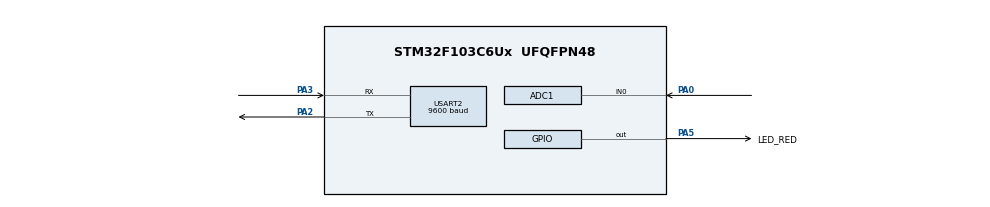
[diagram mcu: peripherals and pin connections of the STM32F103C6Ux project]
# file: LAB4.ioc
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ADC1.Channel-0\#ChannelRegularConversion=ADC_CHANNEL_0
ADC1.ContinuousConvMode=ENABLE
ADC1.NbrOfConversionFlag=1
ADC1.Rank-0\#ChannelRegularConversion=1
ADC1.SamplingTime-0\#ChannelRegularConversion=ADC_SAMPLETIME_1CYCLE_5
ADC1.master=1
Mcu.Family=STM32F1
Mcu.Name=STM32F103C6Ux
Mcu.Package=UFQFPN48
NVIC.PriorityGroup=NVIC_PRIORITYGROUP_4
NVIC.TIM2_IRQn=true\:0\:0\:false\:false\:true\:true\:true
NVIC.USART2_IRQn=true\:0\:0\:false\:false\:true\:true\:true
PA0-WKUP.Signal=ADCx_IN0
PA2.Mode=Asynchronous
PA2.Signal=USART2_TX
PA3.Mode=Asynchronous
PA3.Signal=USART2_RX
PA5.GPIO_Label=LED_RED
PA5.Signal=GPIO_Output
ProjectManager.HeapSize=0x200
ProjectManager.StackSize=0x400
ProjectManager.TargetToolchain=STM32CubeIDE
RCC.APB1Freq_Value=8000000
RCC.APB2Freq_Value=8000000
SH.ADCx_IN0.0=ADC1_IN0,IN0
TIM2.Period=9
TIM2.Prescaler=7999
USART2.BaudRate=9600
USART2.VirtualMode=VM_ASYNC
VP_SYS_VS_ND.Mode=No_Debug
VP_TIM2_VS_ClockSourceINT.Mode=Internal
board=custom

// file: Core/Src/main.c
/* USER CODE BEGIN Header */
/**
  ******************************************************************************
  * @file           : main.c
  * @brief          : Main program body
  ******************************************************************************
  * @attention
  *
  * <h2><center>&copy; Copyright (c) 2023 STMicroelectronics.
  * All rights reserved.</center></h2>
  *
  * This software component is licensed by ST under BSD 3-Clause license,
  * the "License"; You may not use this file except in compliance with the
  * License. You may obtain a copy of the License at:
  *                        opensource.org/licenses/BSD-3-Clause
  *
  ******************************************************************************
  */
/* USER CODE END Header */
#include "main.h"
#include "fsm.h"

ADC_HandleTypeDef hadc1;

TIM_HandleTypeDef htim2;

UART_HandleTypeDef huart2;

void SystemClock_Config(void);
static void MX_GPIO_Init(void);
static void MX_ADC1_Init(void);
static void MX_USART2_UART_Init(void);
static void MX_TIM2_Init(void);

/* USER CODE BEGIN 0 */

/* When a character (or a byte) is received, this interrupt service routine is invoked.
After the character is sent to the terminal, the interrupt is activated again.
+ Verify the UART communication channel: sending back any character received from the terminal => Loop-back communication
*/
//#define MAX_BUFFER_SIZE 30
//uint8_t temp = 0;
//uint8_t buffer[MAX_BUFFER_SIZE];
//uint8_t index_buffer = 0;
//uint8_t buffer_flag = 0;
//uint8_t temp = 0;
void HAL_UART_RxCpltCallback (UART_HandleTypeDef *huart){
	if(huart -> Instance == USART2){
		HAL_UART_Transmit(&huart2, &temp, 1, 500); //transmit 1 byte in 500ms
		buffer[index_buffer++] = temp; //store and increment the buffer index
		if(index_buffer==MAX_BUFFER_SIZE) index_buffer=0;
		buffer_flag=1; //new data
		//HAL_UART_Transmit(&huart2, &temp, 1, 50); //transmit 1 byte in 50ms
		HAL_UART_Receive_IT(&huart2, &temp, 1);
	}
}
/* USER CODE END 0 */

int main(void)
{

  /* MCU Configuration--------------------------------------------------------*/

  /* Reset of all peripherals, Initializes the Flash interface and the Systick. */
  HAL_Init();

  /* Configure the system clock */
  SystemClock_Config();

  /* Initialize all configured peripherals */
  MX_GPIO_Init();
  MX_ADC1_Init();
  MX_USART2_UART_Init();
  MX_TIM2_Init();
  /* USER CODE BEGIN 2 */
  HAL_TIM_Base_Start_IT (&htim2);
  HAL_UART_Receive_IT(&huart2, &temp, 1);
  HAL_ADC_Start(&hadc1);
  setTimer1(100);
  /* USER CODE END 2 */

  /* Infinite loop */
  /* USER CODE BEGIN WHILE */
  while (1)
  {
	  if(buffer_flag == 1){
		  command_parser_fsm();
		  buffer_flag = 0;
	  }
	  uart_communication_fsm();
	  if(timer1_flag == 1){
		  HAL_GPIO_TogglePin(LED_RED_GPIO_Port, LED_RED_Pin);
		  setTimer1(100);
	  }
    /* USER CODE END WHILE */

/*	  if(timer1_flag==1){
		  HAL_GPIO_TogglePin (LED_RED_GPIO_Port, LED_RED_Pin);
		  ADC_value = HAL_ADC_GetValue (&hadc1);
		  HAL_UART_Transmit (&huart2, (void *) str, sprintf (str, "%d\n", ADC_value), 1000);
		  //sprintf converts the ADC value into string, str array. INCLUDED \n
		  //Return the # characters written, and it is used as the length of the data to be transmitted.
		  setTimer1(50);
	  }
*/
  }
}

void SystemClock_Config(void)
{
  RCC_OscInitTypeDef RCC_OscInitStruct = {0};
  RCC_ClkInitTypeDef RCC_ClkInitStruct = {0};
  RCC_PeriphCLKInitTypeDef PeriphClkInit = {0};

  /** Initializes the RCC Oscillators according to the specified parameters
  * in the RCC_OscInitTypeDef structure.
  */
  RCC_OscInitStruct.OscillatorType = RCC_OSCILLATORTYPE_HSI;
  RCC_OscInitStruct.HSIState = RCC_HSI_ON;
  RCC_OscInitStruct.HSICalibrationValue = RCC_HSICALIBRATION_DEFAULT;
  RCC_OscInitStruct.PLL.PLLState = RCC_PLL_NONE;
  if (HAL_RCC_OscConfig(&RCC_OscInitStruct) != HAL_OK)
  {
    Error_Handler();
  }
  /** Initializes the CPU, AHB and APB buses clocks
  */
  RCC_ClkInitStruct.ClockType = RCC_CLOCKTYPE_HCLK|RCC_CLOCKTYPE_SYSCLK
                              |RCC_CLOCKTYPE_PCLK1|RCC_CLOCKTYPE_PCLK2;
  RCC_ClkInitStruct.SYSCLKSource = RCC_SYSCLKSOURCE_HSI;
  RCC_ClkInitStruct.AHBCLKDivider = RCC_SYSCLK_DIV1;
  RCC_ClkInitStruct.APB1CLKDivider = RCC_HCLK_DIV1;
  RCC_ClkInitStruct.APB2CLKDivider = RCC_HCLK_DIV1;

  if (HAL_RCC_ClockConfig(&RCC_ClkInitStruct, FLASH_LATENCY_0) != HAL_OK)
  {
    Error_Handler();
  }
  PeriphClkInit.PeriphClockSelection = RCC_PERIPHCLK_ADC;
  PeriphClkInit.AdcClockSelection = RCC_ADCPCLK2_DIV2;
  if (HAL_RCCEx_PeriphCLKConfig(&PeriphClkInit) != HAL_OK)
  {
    Error_Handler();
  }
}

static void MX_ADC1_Init(void)
{

  ADC_ChannelConfTypeDef sConfig = {0};

  /** Common config
  */
  hadc1.Instance = ADC1;
  hadc1.Init.ScanConvMode = ADC_SCAN_DISABLE;
  hadc1.Init.ContinuousConvMode = ENABLE;
  hadc1.Init.DiscontinuousConvMode = DISABLE;
  hadc1.Init.ExternalTrigConv = ADC_SOFTWARE_START;
  hadc1.Init.DataAlign = ADC_DATAALIGN_RIGHT;
  hadc1.Init.NbrOfConversion = 1;
  if (HAL_ADC_Init(&hadc1) != HAL_OK)
  {
    Error_Handler();
  }
  /** Configure Regular Channel
  */
  sConfig.Channel = ADC_CHANNEL_0;
  sConfig.Rank = ADC_REGULAR_RANK_1;
  sConfig.SamplingTime = ADC_SAMPLETIME_1CYCLE_5;
  if (HAL_ADC_ConfigChannel(&hadc1, &sConfig) != HAL_OK)
  {
    Error_Handler();
  }

}

static void MX_TIM2_Init(void)
{

  TIM_ClockConfigTypeDef sClockSourceConfig = {0};
  TIM_MasterConfigTypeDef sMasterConfig = {0};

  htim2.Instance = TIM2;
  htim2.Init.Prescaler = 7999;
  htim2.Init.CounterMode = TIM_COUNTERMODE_UP;
  htim2.Init.Period = 9;
  htim2.Init.ClockDivision = TIM_CLOCKDIVISION_DIV1;
  htim2.Init.AutoReloadPreload = TIM_AUTORELOAD_PRELOAD_DISABLE;
  if (HAL_TIM_Base_Init(&htim2) != HAL_OK)
  {
    Error_Handler();
  }
  sClockSourceConfig.ClockSource = TIM_CLOCKSOURCE_INTERNAL;
  if (HAL_TIM_ConfigClockSource(&htim2, &sClockSourceConfig) != HAL_OK)
  {
    Error_Handler();
  }
  sMasterConfig.MasterOutputTrigger = TIM_TRGO_RESET;
  sMasterConfig.MasterSlaveMode = TIM_MASTERSLAVEMODE_DISABLE;
  if (HAL_TIMEx_MasterConfigSynchronization(&htim2, &sMasterConfig) != HAL_OK)
  {
    Error_Handler();
  }

}

static void MX_USART2_UART_Init(void)
{

  huart2.Instance = USART2;
  huart2.Init.BaudRate = 9600;
  huart2.Init.WordLength = UART_WORDLENGTH_8B;
  huart2.Init.StopBits = UART_STOPBITS_1;
  huart2.Init.Parity = UART_PARITY_NONE;
  huart2.Init.Mode = UART_MODE_TX_RX;
  huart2.Init.HwFlowCtl = UART_HWCONTROL_NONE;
  huart2.Init.OverSampling = UART_OVERSAMPLING_16;
  if (HAL_UART_Init(&huart2) != HAL_OK)
  {
    Error_Handler();
  }

}

static void MX_GPIO_Init(void)
{
  GPIO_InitTypeDef GPIO_InitStruct = {0};

  /* GPIO Ports Clock Enable */
  __HAL_RCC_GPIOA_CLK_ENABLE();

  /*Configure GPIO pin Output Level */
  HAL_GPIO_WritePin(LED_RED_GPIO_Port, LED_RED_Pin, GPIO_PIN_RESET);

  /*Configure GPIO pin : LED_RED_Pin */
  GPIO_InitStruct.Pin = LED_RED_Pin;
  GPIO_InitStruct.Mode = GPIO_MODE_OUTPUT_PP;
  GPIO_InitStruct.Pull = GPIO_NOPULL;
  GPIO_InitStruct.Speed = GPIO_SPEED_FREQ_LOW;
  HAL_GPIO_Init(LED_RED_GPIO_Port, &GPIO_InitStruct);

}

/* USER CODE BEGIN 4 */
void HAL_TIM_PeriodElapsedCallback (TIM_HandleTypeDef *htim ){
	timerRun();
}
/* USER CODE END 4 */

void Error_Handler(void)
{
  __disable_irq();
  while (1)
  {
  }
}

/************************ (C) COPYRIGHT STMicroelectronics *****END OF FILE****/
